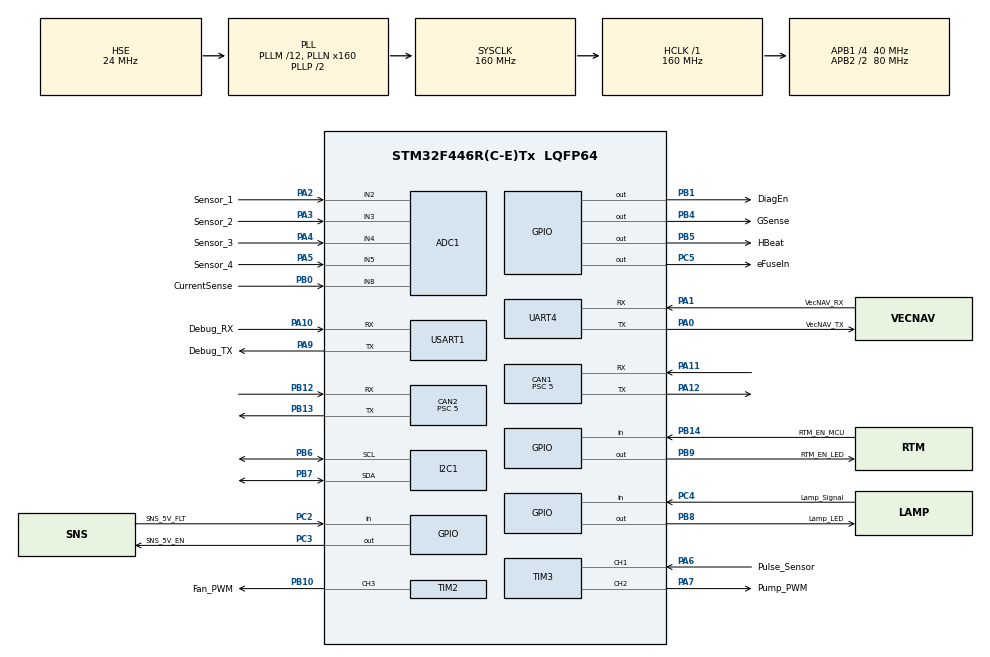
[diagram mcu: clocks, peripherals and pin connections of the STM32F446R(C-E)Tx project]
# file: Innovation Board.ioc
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ADC1.Channel-0\#ChannelRegularConversion=ADC_CHANNEL_2
ADC1.Channel-1\#ChannelRegularConversion=ADC_CHANNEL_3
ADC1.Channel-2\#ChannelRegularConversion=ADC_CHANNEL_4
ADC1.Channel-3\#ChannelRegularConversion=ADC_CHANNEL_5
ADC1.Channel-4\#ChannelRegularConversion=ADC_CHANNEL_8
ADC1.ClockPrescaler=ADC_CLOCK_SYNC_PCLK_DIV8
ADC1.ContinuousConvMode=ENABLE
ADC1.DMAContinuousRequests=ENABLE
ADC1.NbrOfConversion=5
ADC1.NbrOfConversionFlag=1
ADC1.Rank-0\#ChannelRegularConversion=1
ADC1.Rank-1\#ChannelRegularConversion=2
ADC1.Rank-2\#ChannelRegularConversion=3
ADC1.Rank-3\#ChannelRegularConversion=4
ADC1.Rank-4\#ChannelRegularConversion=5
ADC1.SamplingTime-0\#ChannelRegularConversion=ADC_SAMPLETIME_480CYCLES
ADC1.SamplingTime-1\#ChannelRegularConversion=ADC_SAMPLETIME_480CYCLES
ADC1.SamplingTime-2\#ChannelRegularConversion=ADC_SAMPLETIME_480CYCLES
ADC1.SamplingTime-3\#ChannelRegularConversion=ADC_SAMPLETIME_480CYCLES
ADC1.SamplingTime-4\#ChannelRegularConversion=ADC_SAMPLETIME_480CYCLES
ADC1.master=1
CAN1.ABOM=ENABLE
CAN1.AWUM=ENABLE
CAN1.BS1=CAN_BS1_6TQ
CAN1.CalculateBaudRate=1000000
CAN1.CalculateTimeBit=1000
CAN1.CalculateTimeQuantum=125.0
CAN1.Prescaler=5
CAN2.ABOM=ENABLE
CAN2.AWUM=ENABLE
CAN2.BS1=CAN_BS1_6TQ
CAN2.CalculateBaudRate=1000000
CAN2.CalculateTimeBit=1000
CAN2.CalculateTimeQuantum=125.0
CAN2.Prescaler=5
Dma.ADC1.1.Direction=DMA_PERIPH_TO_MEMORY
Dma.ADC1.1.FIFOMode=DMA_FIFOMODE_DISABLE
Dma.ADC1.1.Instance=DMA2_Stream0
Dma.ADC1.1.MemDataAlignment=DMA_MDATAALIGN_HALFWORD
Dma.ADC1.1.MemInc=DMA_MINC_ENABLE
Dma.ADC1.1.Mode=DMA_CIRCULAR
Dma.ADC1.1.PeriphDataAlignment=DMA_PDATAALIGN_HALFWORD
Dma.ADC1.1.PeriphInc=DMA_PINC_DISABLE
Dma.ADC1.1.Priority=DMA_PRIORITY_LOW
Dma.Request0=TIM3_CH1/TRIG
Dma.Request1=ADC1
Dma.TIM3_CH1/TRIG.0.Direction=DMA_PERIPH_TO_MEMORY
Dma.TIM3_CH1/TRIG.0.FIFOMode=DMA_FIFOMODE_DISABLE
Dma.TIM3_CH1/TRIG.0.Instance=DMA1_Stream4
Dma.TIM3_CH1/TRIG.0.MemDataAlignment=DMA_MDATAALIGN_HALFWORD
Dma.TIM3_CH1/TRIG.0.MemInc=DMA_MINC_ENABLE
Dma.TIM3_CH1/TRIG.0.Mode=DMA_CIRCULAR
Dma.TIM3_CH1/TRIG.0.PeriphDataAlignment=DMA_PDATAALIGN_HALFWORD
Dma.TIM3_CH1/TRIG.0.PeriphInc=DMA_PINC_DISABLE
Dma.TIM3_CH1/TRIG.0.Priority=DMA_PRIORITY_LOW
FREERTOS.Tasks01=mainTask,0,2048,mainTask_entry,Default,NULL,Static,mainTaskBuffer,mainTaskControlBlock;gcanTask,1,1024,gcan_buffer_task,Default,NULL,Static,gcanTaskBuffer,gcanTaskControlBlock
FREERTOS.configENABLE_FPU=1
I2C1.I2C_Mode=I2C_Fast
I2C1.OwnAddress=0
Mcu.Family=STM32F4
Mcu.Name=STM32F446R(C-E)Tx
Mcu.Package=LQFP64
NVIC.CAN1_RX0_IRQn=true\:5\:0\:false\:false\:true\:true\:true\:true\:true
NVIC.CAN1_RX1_IRQn=true\:5\:0\:false\:false\:true\:true\:true\:true\:true
NVIC.CAN1_TX_IRQn=true\:5\:0\:false\:false\:true\:true\:true\:true\:true
NVIC.CAN2_RX0_IRQn=true\:5\:0\:false\:false\:true\:true\:true\:true\:true
NVIC.CAN2_RX1_IRQn=true\:5\:0\:false\:false\:true\:true\:true\:true\:true
NVIC.CAN2_TX_IRQn=true\:5\:0\:false\:false\:true\:true\:true\:true\:true
NVIC.DMA1_Stream4_IRQn=true\:5\:0\:false\:false\:true\:true\:false\:true\:true
NVIC.DMA2_Stream0_IRQn=true\:5\:0\:false\:false\:true\:true\:false\:true\:true
NVIC.PriorityGroup=NVIC_PRIORITYGROUP_4
NVIC.TIM1_UP_TIM10_IRQn=true\:5\:0\:false\:false\:true\:true\:true\:true\:true
NVIC.TIM6_DAC_IRQn=true\:15\:0\:false\:false\:true\:false\:false\:true\:true
NVIC.TimeBase=TIM6_DAC_IRQn
NVIC.TimeBaseIP=TIM6
PA0-WKUP.GPIO_Label=VecNAV_TX
PA0-WKUP.Mode=Asynchronous
PA0-WKUP.Signal=UART4_TX
PA1.GPIO_Label=VecNAV_RX
PA1.Mode=Asynchronous
PA1.Signal=UART4_RX
PA10.GPIO_Label=Debug_RX
PA10.Mode=Asynchronous
PA10.Signal=USART1_RX
PA11.Mode=CAN_Activate
PA11.Signal=CAN1_RX
PA12.Mode=CAN_Activate
PA12.Signal=CAN1_TX
PA13.Mode=Trace_Asynchronous_SW
PA13.Signal=SYS_JTMS-SWDIO
PA14.Mode=Trace_Asynchronous_SW
PA14.Signal=SYS_JTCK-SWCLK
PA2.GPIO_Label=Sensor_1
PA2.Signal=ADCx_IN2
PA3.GPIO_Label=Sensor_2
PA3.Signal=ADCx_IN3
PA4.GPIO_Label=Sensor_3
PA4.Signal=ADCx_IN4
PA5.GPIO_Label=Sensor_4
PA5.Signal=ADCx_IN5
PA6.GPIO_Label=Pulse_Sensor
PA6.Signal=S_TIM3_CH1
PA7.GPIO_Label=Pump_PWM
PA7.Signal=S_TIM3_CH2
PA9.GPIO_Label=Debug_TX
PA9.Mode=Asynchronous
PA9.Signal=USART1_TX
PB0.GPIO_Label=CurrentSense
PB0.Signal=ADCx_IN8
PB1.GPIO_Label=DiagEn
PB1.Signal=GPIO_Output
PB10.GPIO_Label=Fan_PWM
PB10.Signal=S_TIM2_CH3
PB12.Mode=CAN_Activate
PB12.Signal=CAN2_RX
PB13.Mode=CAN_Activate
PB13.Signal=CAN2_TX
PB14.GPIO_Label=RTM_EN_MCU
PB14.Signal=GPIO_Input
PB3.Mode=Trace_Asynchronous_SW
PB3.Signal=SYS_JTDO-SWO
PB4.GPIO_Label=GSense
PB4.Signal=GPIO_Output
PB5.GPIO_Label=HBeat
PB5.Signal=GPIO_Output
PB6.Mode=I2C
PB6.Signal=I2C1_SCL
PB7.Mode=I2C
PB7.Signal=I2C1_SDA
PB8.GPIO_Label=Lamp_LED
PB8.Signal=GPIO_Output
PB9.GPIO_Label=RTM_EN_LED
PB9.Signal=GPIO_Output
PC10.Signal=SDIO_D2
PC12.Signal=SDIO_CK
PC2.GPIO_Label=SNS_5V_FLT
PC2.Signal=GPIO_Input
PC3.GPIO_Label=SNS_5V_EN
PC3.Signal=GPIO_Output
PC4.GPIO_Label=Lamp_Signal
PC4.Signal=GPIO_Input
PC5.GPIO_Label=eFuseIn
PC5.Signal=GPIO_Output
PC9.Signal=SDIO_D1
PH0-OSC_IN.Mode=HSE-External-Oscillator
PH0-OSC_IN.Signal=RCC_OSC_IN
PH1-OSC_OUT.Mode=HSE-External-Oscillator
PH1-OSC_OUT.Signal=RCC_OSC_OUT
ProjectManager.HeapSize=0x200
ProjectManager.StackSize=0x400
ProjectManager.TargetToolchain=STM32CubeIDE
RCC.AHBFreq_Value=160000000
RCC.APB1CLKDivider=RCC_HCLK_DIV4
RCC.APB1Freq_Value=40000000
RCC.APB1TimFreq_Value=80000000
RCC.APB2CLKDivider=RCC_HCLK_DIV2
RCC.APB2Freq_Value=80000000
RCC.APB2TimFreq_Value=160000000
RCC.CortexFreq_Value=160000000
RCC.HCLKFreq_Value=160000000
RCC.HSE_VALUE=24000000
RCC.PLLM=12
RCC.PLLN=160
RCC.PLLQ=7
RCC.PLLSourceVirtual=RCC_PLLSOURCE_HSE
RCC.SYSCLKFreq_VALUE=160000000
RCC.SYSCLKSource=RCC_SYSCLKSOURCE_PLLCLK
RCC.USBFreq_Value=45714285.71428572
RCC.VCOOutputFreq_Value=320000000
SH.ADCx_IN2.0=ADC1_IN2,IN2
SH.ADCx_IN3.0=ADC1_IN3,IN3
SH.ADCx_IN4.0=ADC1_IN4,IN4
SH.ADCx_IN5.0=ADC1_IN5,IN5
SH.ADCx_IN8.0=ADC1_IN8,IN8
SH.S_TIM2_CH3.0=TIM2_CH3,PWM Generation3 CH3
SH.S_TIM3_CH1.0=TIM3_CH1,Input_Capture1_from_TI1
SH.S_TIM3_CH2.0=TIM3_CH2,PWM Generation2 CH2
TIM2.Channel-PWM\ Generation3\ CH3=TIM_CHANNEL_3
TIM3.Channel-Input_Capture1_from_TI1=TIM_CHANNEL_1
TIM3.Channel-PWM\ Generation2\ CH2=TIM_CHANNEL_2
UART4.VirtualMode=Asynchronous
USART1.VirtualMode=VM_ASYNC
VP_FREERTOS_VS_CMSIS_V1.Mode=CMSIS_V1
VP_SYS_VS_tim6.Mode=TIM6
VP_TIM10_VS_ClockSourceINT.Mode=Enable_Timer
VP_TIM13_VS_ClockSourceINT.Mode=Enable_Timer
VP_TIM1_VS_ClockSourceITR.Mode=TriggerSource_ITR0
VP_TIM1_VS_ControllerModeClock.Mode=Clock Mode
VP_TIM2_VS_ClockSourceITR.Mode=TriggerSource_ITR0
VP_TIM2_VS_ControllerModeClock.Mode=Clock Mode
VP_TIM3_VS_ClockSourceINT.Mode=Internal
VP_TIM8_VS_ClockSourceINT.Mode=Internal
board=custom

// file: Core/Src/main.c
/* USER CODE BEGIN Header */
/**
  ******************************************************************************
  * @file           : main.c
  * @brief          : Main program body
  ******************************************************************************
  * @attention
  *
  * Copyright (c) 2025 STMicroelectronics.
  * All rights reserved.
  *
  * This software is licensed under terms that can be found in the LICENSE file
  * in the root directory of this software component.
  * If no LICENSE file comes with this software, it is provided AS-IS.
  *
  ******************************************************************************
  */
/* USER CODE END Header */
#include "main.h"
#include "cmsis_os.h"

/* USER CODE BEGIN Includes */
#include "GopherCAN.h"
#include "gopher_sense.h"
#include "pulse_sensor.h"
#include "innovation_board_main.h"
/* USER CODE END Includes */

ADC_HandleTypeDef hadc1;
DMA_HandleTypeDef hdma_adc1;

CAN_HandleTypeDef hcan1;
CAN_HandleTypeDef hcan2;

I2C_HandleTypeDef hi2c1;

TIM_HandleTypeDef htim1;
TIM_HandleTypeDef htim2;
TIM_HandleTypeDef htim3;
TIM_HandleTypeDef htim8;
TIM_HandleTypeDef htim10;
TIM_HandleTypeDef htim13;
DMA_HandleTypeDef hdma_tim3_ch1_trig;

UART_HandleTypeDef huart4;
UART_HandleTypeDef huart1;

osThreadId mainTaskHandle;
uint32_t mainTaskBuffer[ 2048 ];
osStaticThreadDef_t mainTaskControlBlock;
osThreadId gcanTaskHandle;
uint32_t gcanTaskBuffer[ 1024 ];
osStaticThreadDef_t gcanTaskControlBlock;

void SystemClock_Config(void);
static void MX_GPIO_Init(void);
static void MX_DMA_Init(void);
static void MX_CAN1_Init(void);
static void MX_CAN2_Init(void);
static void MX_UART4_Init(void);
static void MX_USART1_UART_Init(void);
static void MX_ADC1_Init(void);
static void MX_I2C1_Init(void);
static void MX_TIM1_Init(void);
static void MX_TIM2_Init(void);
static void MX_TIM3_Init(void);
static void MX_TIM8_Init(void);
static void MX_TIM13_Init(void);
static void MX_TIM10_Init(void);
void mainTask_entry(void const * argument);
void gcan_buffer_task(void const * argument);

int main(void)
{

  /* MCU Configuration--------------------------------------------------------*/

  /* Reset of all peripherals, Initializes the Flash interface and the Systick. */
  HAL_Init();

  /* Configure the system clock */
  SystemClock_Config();

  /* Initialize all configured peripherals */
  MX_GPIO_Init();
  MX_DMA_Init();
  MX_CAN1_Init();
  MX_CAN2_Init();
  MX_UART4_Init();
  MX_USART1_UART_Init();
  MX_ADC1_Init();
  MX_I2C1_Init();
  MX_TIM1_Init();
  MX_TIM2_Init();
  MX_TIM3_Init();
  MX_TIM8_Init();
  MX_TIM13_Init();
  MX_TIM10_Init();
  /* USER CODE BEGIN 2 */
  init_inno_board(&hcan1, &hcan2);
  gsense_init(&hcan1, &hadc1, NULL, NULL, &htim10, GSense_GPIO_Port, GSense_Pin);

  setup_pulse_sensor_vss(
        		  &htim3,
         		  TIM_CHANNEL_1,
         		  0.0595f,
         		  &(fvcWheelSpeedFrontLeft_m_per_s.data),
        		  5000,
         		  true,
         		  100,
         		  1000,
        		  1,
        		  64
           );
  /* USER CODE END 2 */

  /* Create the thread(s) */
  /* definition and creation of mainTask */
  osThreadStaticDef(mainTask, mainTask_entry, osPriorityNormal, 0, 2048, mainTaskBuffer, &mainTaskControlBlock);
  mainTaskHandle = osThreadCreate(osThread(mainTask), NULL);

  /* definition and creation of gcanTask */
  osThreadStaticDef(gcanTask, gcan_buffer_task, osPriorityAboveNormal, 0, 1024, gcanTaskBuffer, &gcanTaskControlBlock);
  gcanTaskHandle = osThreadCreate(osThread(gcanTask), NULL);

  /* Start scheduler */
  osKernelStart();

  /* We should never get here as control is now taken by the scheduler */

  /* Infinite loop */
  while (1)
  {

  }
}

void SystemClock_Config(void)
{
  RCC_OscInitTypeDef RCC_OscInitStruct = {0};
  RCC_ClkInitTypeDef RCC_ClkInitStruct = {0};

  /** Configure the main internal regulator output voltage
  */
  __HAL_RCC_PWR_CLK_ENABLE();
  __HAL_PWR_VOLTAGESCALING_CONFIG(PWR_REGULATOR_VOLTAGE_SCALE1);

  /** Initializes the RCC Oscillators according to the specified parameters
  * in the RCC_OscInitTypeDef structure.
  */
  RCC_OscInitStruct.OscillatorType = RCC_OSCILLATORTYPE_HSE;
  RCC_OscInitStruct.HSEState = RCC_HSE_ON;
  RCC_OscInitStruct.PLL.PLLState = RCC_PLL_ON;
  RCC_OscInitStruct.PLL.PLLSource = RCC_PLLSOURCE_HSE;
  RCC_OscInitStruct.PLL.PLLM = 12;
  RCC_OscInitStruct.PLL.PLLN = 160;
  RCC_OscInitStruct.PLL.PLLP = RCC_PLLP_DIV2;
  RCC_OscInitStruct.PLL.PLLQ = 7;
  RCC_OscInitStruct.PLL.PLLR = 2;
  if (HAL_RCC_OscConfig(&RCC_OscInitStruct) != HAL_OK)
  {
    Error_Handler();
  }

  /** Initializes the CPU, AHB and APB buses clocks
  */
  RCC_ClkInitStruct.ClockType = RCC_CLOCKTYPE_HCLK|RCC_CLOCKTYPE_SYSCLK
                              |RCC_CLOCKTYPE_PCLK1|RCC_CLOCKTYPE_PCLK2;
  RCC_ClkInitStruct.SYSCLKSource = RCC_SYSCLKSOURCE_PLLCLK;
  RCC_ClkInitStruct.AHBCLKDivider = RCC_SYSCLK_DIV1;
  RCC_ClkInitStruct.APB1CLKDivider = RCC_HCLK_DIV4;
  RCC_ClkInitStruct.APB2CLKDivider = RCC_HCLK_DIV2;

  if (HAL_RCC_ClockConfig(&RCC_ClkInitStruct, FLASH_LATENCY_5) != HAL_OK)
  {
    Error_Handler();
  }
}

static void MX_ADC1_Init(void)
{

  ADC_ChannelConfTypeDef sConfig = {0};

  /** Configure the global features of the ADC (Clock, Resolution, Data Alignment and number of conversion)
  */
  hadc1.Instance = ADC1;
  hadc1.Init.ClockPrescaler = ADC_CLOCK_SYNC_PCLK_DIV8;
  hadc1.Init.Resolution = ADC_RESOLUTION_12B;
  hadc1.Init.ScanConvMode = ENABLE;
  hadc1.Init.ContinuousConvMode = ENABLE;
  hadc1.Init.DiscontinuousConvMode = DISABLE;
  hadc1.Init.ExternalTrigConvEdge = ADC_EXTERNALTRIGCONVEDGE_NONE;
  hadc1.Init.ExternalTrigConv = ADC_SOFTWARE_START;
  hadc1.Init.DataAlign = ADC_DATAALIGN_RIGHT;
  hadc1.Init.NbrOfConversion = 5;
  hadc1.Init.DMAContinuousRequests = ENABLE;
  hadc1.Init.EOCSelection = ADC_EOC_SINGLE_CONV;
  if (HAL_ADC_Init(&hadc1) != HAL_OK)
  {
    Error_Handler();
  }

  /** Configure for the selected ADC regular channel its corresponding rank in the sequencer and its sample time.
  */
  sConfig.Channel = ADC_CHANNEL_2;
  sConfig.Rank = 1;
  sConfig.SamplingTime = ADC_SAMPLETIME_480CYCLES;
  if (HAL_ADC_ConfigChannel(&hadc1, &sConfig) != HAL_OK)
  {
    Error_Handler();
  }

  /** Configure for the selected ADC regular channel its corresponding rank in the sequencer and its sample time.
  */
  sConfig.Channel = ADC_CHANNEL_3;
  sConfig.Rank = 2;
  if (HAL_ADC_ConfigChannel(&hadc1, &sConfig) != HAL_OK)
  {
    Error_Handler();
  }

  /** Configure for the selected ADC regular channel its corresponding rank in the sequencer and its sample time.
  */
  sConfig.Channel = ADC_CHANNEL_4;
  sConfig.Rank = 3;
  if (HAL_ADC_ConfigChannel(&hadc1, &sConfig) != HAL_OK)
  {
    Error_Handler();
  }

  /** Configure for the selected ADC regular channel its corresponding rank in the sequencer and its sample time.
  */
  sConfig.Channel = ADC_CHANNEL_5;
  sConfig.Rank = 4;
  if (HAL_ADC_ConfigChannel(&hadc1, &sConfig) != HAL_OK)
  {
    Error_Handler();
  }

  /** Configure for the selected ADC regular channel its corresponding rank in the sequencer and its sample time.
  */
  sConfig.Channel = ADC_CHANNEL_8;
  sConfig.Rank = 5;
  if (HAL_ADC_ConfigChannel(&hadc1, &sConfig) != HAL_OK)
  {
    Error_Handler();
  }

}

static void MX_CAN1_Init(void)
{

  hcan1.Instance = CAN1;
  hcan1.Init.Prescaler = 5;
  hcan1.Init.Mode = CAN_MODE_NORMAL;
  hcan1.Init.SyncJumpWidth = CAN_SJW_1TQ;
  hcan1.Init.TimeSeg1 = CAN_BS1_6TQ;
  hcan1.Init.TimeSeg2 = CAN_BS2_1TQ;
  hcan1.Init.TimeTriggeredMode = DISABLE;
  hcan1.Init.AutoBusOff = ENABLE;
  hcan1.Init.AutoWakeUp = ENABLE;
  hcan1.Init.AutoRetransmission = DISABLE;
  hcan1.Init.ReceiveFifoLocked = DISABLE;
  hcan1.Init.TransmitFifoPriority = DISABLE;
  if (HAL_CAN_Init(&hcan1) != HAL_OK)
  {
    Error_Handler();
  }

}

static void MX_CAN2_Init(void)
{

  hcan2.Instance = CAN2;
  hcan2.Init.Prescaler = 5;
  hcan2.Init.Mode = CAN_MODE_NORMAL;
  hcan2.Init.SyncJumpWidth = CAN_SJW_1TQ;
  hcan2.Init.TimeSeg1 = CAN_BS1_6TQ;
  hcan2.Init.TimeSeg2 = CAN_BS2_1TQ;
  hcan2.Init.TimeTriggeredMode = DISABLE;
  hcan2.Init.AutoBusOff = ENABLE;
  hcan2.Init.AutoWakeUp = ENABLE;
  hcan2.Init.AutoRetransmission = DISABLE;
  hcan2.Init.ReceiveFifoLocked = DISABLE;
  hcan2.Init.TransmitFifoPriority = DISABLE;
  if (HAL_CAN_Init(&hcan2) != HAL_OK)
  {
    Error_Handler();
  }

}

static void MX_I2C1_Init(void)
{

  hi2c1.Instance = I2C1;
  hi2c1.Init.ClockSpeed = 400000;
  hi2c1.Init.DutyCycle = I2C_DUTYCYCLE_2;
  hi2c1.Init.OwnAddress1 = 0;
  hi2c1.Init.AddressingMode = I2C_ADDRESSINGMODE_7BIT;
  hi2c1.Init.DualAddressMode = I2C_DUALADDRESS_DISABLE;
  hi2c1.Init.OwnAddress2 = 0;
  hi2c1.Init.GeneralCallMode = I2C_GENERALCALL_DISABLE;
  hi2c1.Init.NoStretchMode = I2C_NOSTRETCH_DISABLE;
  if (HAL_I2C_Init(&hi2c1) != HAL_OK)
  {
    Error_Handler();
  }

}

static void MX_TIM1_Init(void)
{

  TIM_SlaveConfigTypeDef sSlaveConfig = {0};
  TIM_MasterConfigTypeDef sMasterConfig = {0};

  htim1.Instance = TIM1;
  htim1.Init.Prescaler = 0;
  htim1.Init.CounterMode = TIM_COUNTERMODE_UP;
  htim1.Init.Period = 65535;
  htim1.Init.ClockDivision = TIM_CLOCKDIVISION_DIV1;
  htim1.Init.RepetitionCounter = 0;
  htim1.Init.AutoReloadPreload = TIM_AUTORELOAD_PRELOAD_DISABLE;
  if (HAL_TIM_Base_Init(&htim1) != HAL_OK)
  {
    Error_Handler();
  }
  sSlaveConfig.SlaveMode = TIM_SLAVEMODE_EXTERNAL1;
  sSlaveConfig.InputTrigger = TIM_TS_ITR0;
  if (HAL_TIM_SlaveConfigSynchro(&htim1, &sSlaveConfig) != HAL_OK)
  {
    Error_Handler();
  }
  sMasterConfig.MasterOutputTrigger = TIM_TRGO_RESET;
  sMasterConfig.MasterSlaveMode = TIM_MASTERSLAVEMODE_DISABLE;
  if (HAL_TIMEx_MasterConfigSynchronization(&htim1, &sMasterConfig) != HAL_OK)
  {
    Error_Handler();
  }

}

static void MX_TIM2_Init(void)
{

  TIM_SlaveConfigTypeDef sSlaveConfig = {0};
  TIM_MasterConfigTypeDef sMasterConfig = {0};
  TIM_OC_InitTypeDef sConfigOC = {0};

  htim2.Instance = TIM2;
  htim2.Init.Prescaler = 0;
  htim2.Init.CounterMode = TIM_COUNTERMODE_UP;
  htim2.Init.Period = 4294967295;
  htim2.Init.ClockDivision = TIM_CLOCKDIVISION_DIV1;
  htim2.Init.AutoReloadPreload = TIM_AUTORELOAD_PRELOAD_DISABLE;
  if (HAL_TIM_Base_Init(&htim2) != HAL_OK)
  {
    Error_Handler();
  }
  if (HAL_TIM_PWM_Init(&htim2) != HAL_OK)
  {
    Error_Handler();
  }
  sSlaveConfig.SlaveMode = TIM_SLAVEMODE_EXTERNAL1;
  sSlaveConfig.InputTrigger = TIM_TS_ITR0;
  if (HAL_TIM_SlaveConfigSynchro(&htim2, &sSlaveConfig) != HAL_OK)
  {
    Error_Handler();
  }
  sMasterConfig.MasterOutputTrigger = TIM_TRGO_RESET;
  sMasterConfig.MasterSlaveMode = TIM_MASTERSLAVEMODE_DISABLE;
  if (HAL_TIMEx_MasterConfigSynchronization(&htim2, &sMasterConfig) != HAL_OK)
  {
    Error_Handler();
  }
  sConfigOC.OCMode = TIM_OCMODE_PWM1;
  sConfigOC.Pulse = 0;
  sConfigOC.OCPolarity = TIM_OCPOLARITY_HIGH;
  sConfigOC.OCFastMode = TIM_OCFAST_DISABLE;
  if (HAL_TIM_PWM_ConfigChannel(&htim2, &sConfigOC, TIM_CHANNEL_3) != HAL_OK)
  {
    Error_Handler();
  }
  HAL_TIM_MspPostInit(&htim2);

}

static void MX_TIM3_Init(void)
{

  TIM_ClockConfigTypeDef sClockSourceConfig = {0};
  TIM_MasterConfigTypeDef sMasterConfig = {0};
  TIM_IC_InitTypeDef sConfigIC = {0};
  TIM_OC_InitTypeDef sConfigOC = {0};

  htim3.Instance = TIM3;
  htim3.Init.Prescaler = 0;
  htim3.Init.CounterMode = TIM_COUNTERMODE_UP;
  htim3.Init.Period = 65535;
  htim3.Init.ClockDivision = TIM_CLOCKDIVISION_DIV1;
  htim3.Init.AutoReloadPreload = TIM_AUTORELOAD_PRELOAD_DISABLE;
  if (HAL_TIM_Base_Init(&htim3) != HAL_OK)
  {
    Error_Handler();
  }
  sClockSourceConfig.ClockSource = TIM_CLOCKSOURCE_INTERNAL;
  if (HAL_TIM_ConfigClockSource(&htim3, &sClockSourceConfig) != HAL_OK)
  {
    Error_Handler();
  }
  if (HAL_TIM_IC_Init(&htim3) != HAL_OK)
  {
    Error_Handler();
  }
  if (HAL_TIM_PWM_Init(&htim3) != HAL_OK)
  {
    Error_Handler();
  }
  sMasterConfig.MasterOutputTrigger = TIM_TRGO_RESET;
  sMasterConfig.MasterSlaveMode = TIM_MASTERSLAVEMODE_DISABLE;
  if (HAL_TIMEx_MasterConfigSynchronization(&htim3, &sMasterConfig) != HAL_OK)
  {
    Error_Handler();
  }
  sConfigIC.ICPolarity = TIM_INPUTCHANNELPOLARITY_RISING;
  sConfigIC.ICSelection = TIM_ICSELECTION_DIRECTTI;
  sConfigIC.ICPrescaler = TIM_ICPSC_DIV1;
  sConfigIC.ICFilter = 0;
  if (HAL_TIM_IC_ConfigChannel(&htim3, &sConfigIC, TIM_CHANNEL_1) != HAL_OK)
  {
    Error_Handler();
  }
  sConfigOC.OCMode = TIM_OCMODE_PWM1;
  sConfigOC.Pulse = 0;
  sConfigOC.OCPolarity = TIM_OCPOLARITY_HIGH;
  sConfigOC.OCFastMode = TIM_OCFAST_DISABLE;
  if (HAL_TIM_PWM_ConfigChannel(&htim3, &sConfigOC, TIM_CHANNEL_2) != HAL_OK)
  {
    Error_Handler();
  }
  HAL_TIM_MspPostInit(&htim3);

}

static void MX_TIM8_Init(void)
{

  TIM_ClockConfigTypeDef sClockSourceConfig = {0};
  TIM_MasterConfigTypeDef sMasterConfig = {0};

  htim8.Instance = TIM8;
  htim8.Init.Prescaler = 0;
  htim8.Init.CounterMode = TIM_COUNTERMODE_UP;
  htim8.Init.Period = 65535;
  htim8.Init.ClockDivision = TIM_CLOCKDIVISION_DIV1;
  htim8.Init.RepetitionCounter = 0;
  htim8.Init.AutoReloadPreload = TIM_AUTORELOAD_PRELOAD_DISABLE;
  if (HAL_TIM_Base_Init(&htim8) != HAL_OK)
  {
    Error_Handler();
  }
  sClockSourceConfig.ClockSource = TIM_CLOCKSOURCE_INTERNAL;
  if (HAL_TIM_ConfigClockSource(&htim8, &sClockSourceConfig) != HAL_OK)
  {
    Error_Handler();
  }
  sMasterConfig.MasterOutputTrigger = TIM_TRGO_RESET;
  sMasterConfig.MasterSlaveMode = TIM_MASTERSLAVEMODE_DISABLE;
  if (HAL_TIMEx_MasterConfigSynchronization(&htim8, &sMasterConfig) != HAL_OK)
  {
    Error_Handler();
  }

}

static void MX_TIM10_Init(void)
{

  htim10.Instance = TIM10;
  htim10.Init.Prescaler = 0;
  htim10.Init.CounterMode = TIM_COUNTERMODE_UP;
  htim10.Init.Period = 65535;
  htim10.Init.ClockDivision = TIM_CLOCKDIVISION_DIV1;
  htim10.Init.AutoReloadPreload = TIM_AUTORELOAD_PRELOAD_DISABLE;
  if (HAL_TIM_Base_Init(&htim10) != HAL_OK)
  {
    Error_Handler();
  }

}

static void MX_TIM13_Init(void)
{

  htim13.Instance = TIM13;
  htim13.Init.Prescaler = 0;
  htim13.Init.CounterMode = TIM_COUNTERMODE_UP;
  htim13.Init.Period = 65535;
  htim13.Init.ClockDivision = TIM_CLOCKDIVISION_DIV1;
  htim13.Init.AutoReloadPreload = TIM_AUTORELOAD_PRELOAD_DISABLE;
  if (HAL_TIM_Base_Init(&htim13) != HAL_OK)
  {
    Error_Handler();
  }

}

static void MX_UART4_Init(void)
{

  huart4.Instance = UART4;
  huart4.Init.BaudRate = 115200;
  huart4.Init.WordLength = UART_WORDLENGTH_8B;
  huart4.Init.StopBits = UART_STOPBITS_1;
  huart4.Init.Parity = UART_PARITY_NONE;
  huart4.Init.Mode = UART_MODE_TX_RX;
  huart4.Init.HwFlowCtl = UART_HWCONTROL_NONE;
  huart4.Init.OverSampling = UART_OVERSAMPLING_16;
  if (HAL_UART_Init(&huart4) != HAL_OK)
  {
    Error_Handler();
  }

}

static void MX_USART1_UART_Init(void)
{

  huart1.Instance = USART1;
  huart1.Init.BaudRate = 115200;
  huart1.Init.WordLength = UART_WORDLENGTH_8B;
  huart1.Init.StopBits = UART_STOPBITS_1;
  huart1.Init.Parity = UART_PARITY_NONE;
  huart1.Init.Mode = UART_MODE_TX_RX;
  huart1.Init.HwFlowCtl = UART_HWCONTROL_NONE;
  huart1.Init.OverSampling = UART_OVERSAMPLING_16;
  if (HAL_UART_Init(&huart1) != HAL_OK)
  {
    Error_Handler();
  }

}

static void MX_DMA_Init(void)
{

  /* DMA controller clock enable */
  __HAL_RCC_DMA1_CLK_ENABLE();
  __HAL_RCC_DMA2_CLK_ENABLE();

  /* DMA interrupt init */
  /* DMA1_Stream4_IRQn interrupt configuration */
  HAL_NVIC_SetPriority(DMA1_Stream4_IRQn, 5, 0);
  HAL_NVIC_EnableIRQ(DMA1_Stream4_IRQn);
  /* DMA2_Stream0_IRQn interrupt configuration */
  HAL_NVIC_SetPriority(DMA2_Stream0_IRQn, 5, 0);
  HAL_NVIC_EnableIRQ(DMA2_Stream0_IRQn);

}

static void MX_GPIO_Init(void)
{
  GPIO_InitTypeDef GPIO_InitStruct = {0};

  /* GPIO Ports Clock Enable */
  __HAL_RCC_GPIOH_CLK_ENABLE();
  __HAL_RCC_GPIOC_CLK_ENABLE();
  __HAL_RCC_GPIOA_CLK_ENABLE();
  __HAL_RCC_GPIOB_CLK_ENABLE();

  /*Configure GPIO pin Output Level */
  HAL_GPIO_WritePin(GPIOC, SNS_5V_EN_Pin|eFuseIn_Pin, GPIO_PIN_RESET);

  /*Configure GPIO pin Output Level */
  HAL_GPIO_WritePin(GPIOB, DiagEn_Pin|GSense_Pin|HBeat_Pin|Lamp_LED_Pin
                          |RTM_EN_LED_Pin, GPIO_PIN_RESET);

  /*Configure GPIO pins : SNS_5V_FLT_Pin Lamp_Signal_Pin */
  GPIO_InitStruct.Pin = SNS_5V_FLT_Pin|Lamp_Signal_Pin;
  GPIO_InitStruct.Mode = GPIO_MODE_INPUT;
  GPIO_InitStruct.Pull = GPIO_NOPULL;
  HAL_GPIO_Init(GPIOC, &GPIO_InitStruct);

  /*Configure GPIO pins : SNS_5V_EN_Pin eFuseIn_Pin */
  GPIO_InitStruct.Pin = SNS_5V_EN_Pin|eFuseIn_Pin;
  GPIO_InitStruct.Mode = GPIO_MODE_OUTPUT_PP;
  GPIO_InitStruct.Pull = GPIO_NOPULL;
  GPIO_InitStruct.Speed = GPIO_SPEED_FREQ_LOW;
  HAL_GPIO_Init(GPIOC, &GPIO_InitStruct);

  /*Configure GPIO pins : DiagEn_Pin GSense_Pin HBeat_Pin Lamp_LED_Pin
                           RTM_EN_LED_Pin */
  GPIO_InitStruct.Pin = DiagEn_Pin|GSense_Pin|HBeat_Pin|Lamp_LED_Pin
                          |RTM_EN_LED_Pin;
  GPIO_InitStruct.Mode = GPIO_MODE_OUTPUT_PP;
  GPIO_InitStruct.Pull = GPIO_NOPULL;
  GPIO_InitStruct.Speed = GPIO_SPEED_FREQ_LOW;
  HAL_GPIO_Init(GPIOB, &GPIO_InitStruct);

  /*Configure GPIO pin : RTM_EN_MCU_Pin */
  GPIO_InitStruct.Pin = RTM_EN_MCU_Pin;
  GPIO_InitStruct.Mode = GPIO_MODE_INPUT;
  GPIO_InitStruct.Pull = GPIO_NOPULL;
  HAL_GPIO_Init(RTM_EN_MCU_GPIO_Port, &GPIO_InitStruct);

  /*Configure GPIO pins : PC9 PC10 PC12 */
  GPIO_InitStruct.Pin = GPIO_PIN_9|GPIO_PIN_10|GPIO_PIN_12;
  GPIO_InitStruct.Mode = GPIO_MODE_AF_PP;
  GPIO_InitStruct.Pull = GPIO_NOPULL;
  GPIO_InitStruct.Speed = GPIO_SPEED_FREQ_VERY_HIGH;
  GPIO_InitStruct.Alternate = GPIO_AF12_SDIO;
  HAL_GPIO_Init(GPIOC, &GPIO_InitStruct);

}

void mainTask_entry(void const * argument)
{
  /* USER CODE BEGIN 5 */
  /* Infinite loop */
  for(;;)
  {
	main_loop();
    osDelay(1);
  }
  /* USER CODE END 5 */
}

void gcan_buffer_task(void const * argument)
{
  /* USER CODE BEGIN gcan_buffer_task */
  /* Infinite loop */
  for(;;)
  {
	can_buffer_handling_loop();
    osDelay(1);
  }
  /* USER CODE END gcan_buffer_task */
}

void HAL_TIM_PeriodElapsedCallback(TIM_HandleTypeDef *htim)
{
  if (htim->Instance == TIM6)
  {
    HAL_IncTick();
  }
  /* USER CODE BEGIN Callback 1 */
  else if(htim->Instance == TIM10) {
  	DAQ_TimerCallback(&htim10);
  }
  /* USER CODE END Callback 1 */
}

void Error_Handler(void)
{
  /* USER CODE BEGIN Error_Handler_Debug */
  /* User can add his own implementation to report the HAL error return state */
  __disable_irq();
  while (1)
  {
	  HAL_GPIO_WritePin(Lamp_LED_GPIO_Port, Lamp_LED_Pin, 1);
  }
  /* USER CODE END Error_Handler_Debug */
}
